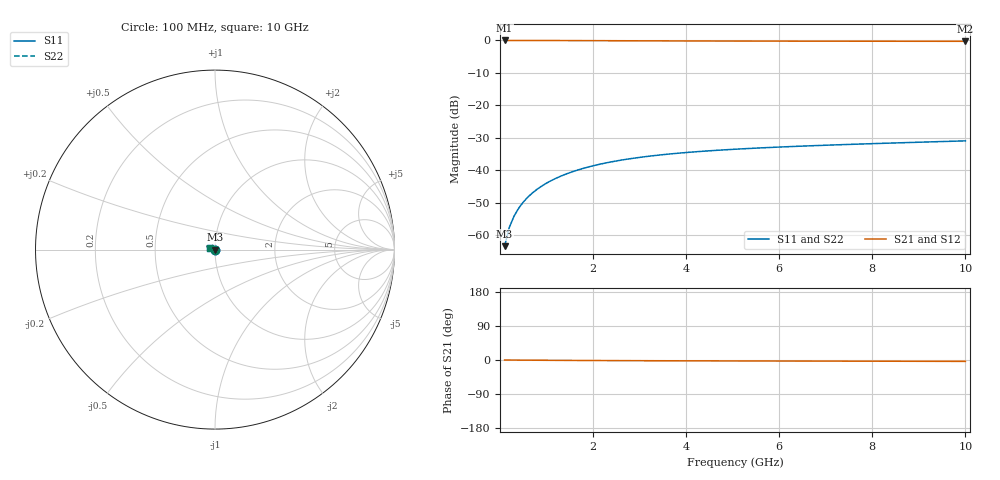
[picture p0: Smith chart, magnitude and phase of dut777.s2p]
! Touchstone file exported from HFSS 2024.1.0
!  File:  C:/UserFiles/LocalFiles/RDL_TSV_Batchsim/temp_TSV1_777_1779874134.aedt
!  Generated:  05:34:34 PM May 27, 2026
!  Design:  TSV1
!  Project:  temp_TSV1_777_1779874134
!  Setup:  Setup1
!  Solution:  Sweep
! Variables:
!  dtsv = 7.6um
!  hbump = 3um
!  htsv = 53.6um
!  lrdl = 252.1521522um
!  p = 40
!  p1 = 45.41um
!  t = 500um
!  trdl = 3um
!  wrdl = 24.89489489um
# GHz S MA R 50.000000
! Terminal data exported
! Port[1] = TSV22_T1
! Port[2] = TSV22_T2
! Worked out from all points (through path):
!   100 points, 100 MHz to 10 GHz, reference 50 ohm
!   highest |S21| = 0.00 dB at 100 MHz (marker M1); lowest = -0.3 dB at 10 GHz (marker M2)
!   lowest |S11| = -63.4 dB at 100 MHz (marker M3), VSWR 1.00, Z = 50 - j0.0654 ohm
!   |S11| at or under -10 dB: start of sweep to end of sweep
!   |S22| runs from -63.4 to -30.9 dB; largest |S21 - S12| = 2.3e-15
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0.1  0.0006778 -74.8  0.9998 -0.1  0.9998 -0.1  0.0006778 -74.8
! Gamma 0 0 0 0
! Port Impedance 50 0 50 0
0.2  0.00131 -85.1  0.9997 -0.2  0.9997 -0.2  0.00131 -85.1
0.3  0.00195 -90.0  0.9996 -0.2  0.9996 -0.2  0.00195 -90.0
0.4  0.002591 -93.4  0.9994 -0.3  0.9994 -0.3  0.002591 -93.4
0.5  0.003229 -96.2  0.9992 -0.4  0.9992 -0.4  0.003229 -96.2
0.6  0.003864 -98.6  0.999 -0.5  0.999 -0.5  0.003864 -98.6
0.7  0.004493 -100.9  0.9987 -0.5  0.9987 -0.5  0.004493 -100.9
0.8  0.005115 -103.1  0.9983 -0.6  0.9983 -0.6  0.005115 -103.1
0.9  0.005729 -105.1  0.998 -0.7  0.998 -0.7  0.005729 -105.1
1.1  0.006929 -109.1  0.9972 -0.8  0.9972 -0.8  0.006929 -109.1
1.4  0.008644 -114.6  0.9958 -1.0  0.9958 -1.0  0.008644 -114.6
1.6  0.009725 -118.0  0.9948 -1.2  0.9948 -1.2  0.009725 -118.0
1.8  0.01075 -121.4  0.9938 -1.3  0.9938 -1.3  0.01075 -121.4
2.1  0.01219 -126.1  0.9922 -1.4  0.9922 -1.4  0.01219 -126.1
2.5  0.01392 -132.1  0.99 -1.6  0.99 -1.6  0.01392 -132.1
2.9  0.01545 -137.6  0.9879 -1.8  0.9879 -1.8  0.01545 -137.6
3.4  0.0171 -144.0  0.9855 -2.0  0.9855 -2.0  0.0171 -144.0
4.2  0.01927 -152.9  0.982 -2.2  0.982 -2.2  0.01927 -152.9
5.1  0.0212 -161.5  0.9789 -2.5  0.9789 -2.5  0.0212 -161.5
6.7  0.02388 -174.1  0.9748 -2.9  0.9748 -2.9  0.02388 -174.1
8.4  0.02626 175.2  0.972 -3.3  0.972 -3.3  0.02626 175.2
10  0.02839 166.8  0.9701 -3.7  0.9701 -3.7  0.02839 166.8
